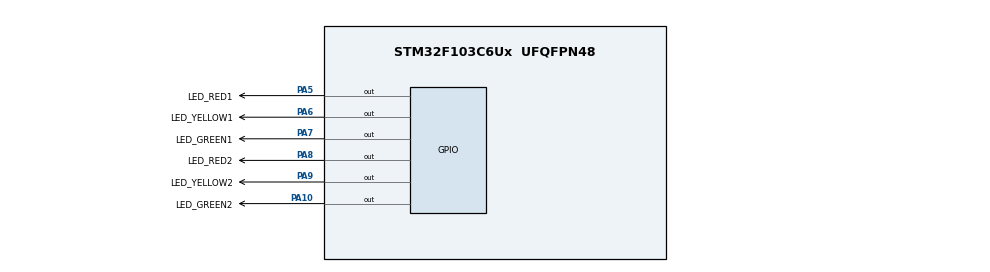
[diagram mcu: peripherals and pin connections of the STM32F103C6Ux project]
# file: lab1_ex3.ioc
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Mcu.Family=STM32F1
Mcu.Name=STM32F103C6Ux
Mcu.Package=UFQFPN48
NVIC.PriorityGroup=NVIC_PRIORITYGROUP_4
PA10.GPIO_Label=LED_GREEN2
PA10.Signal=GPIO_Output
PA5.GPIO_Label=LED_RED1
PA5.Signal=GPIO_Output
PA6.GPIO_Label=LED_YELLOW1
PA6.Signal=GPIO_Output
PA7.GPIO_Label=LED_GREEN1
PA7.Signal=GPIO_Output
PA8.GPIO_Label=LED_RED2
PA8.Signal=GPIO_Output
PA9.GPIO_Label=LED_YELLOW2
PA9.Signal=GPIO_Output
ProjectManager.HeapSize=0x200
ProjectManager.StackSize=0x400
ProjectManager.TargetToolchain=STM32CubeIDE
RCC.APB1Freq_Value=8000000
RCC.APB2Freq_Value=8000000
VP_SYS_VS_ND.Mode=No_Debug
board=custom

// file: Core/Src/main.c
/* USER CODE BEGIN Header */
/**
  ******************************************************************************
  * @file           : main.c
  * @brief          : Main program body
  ******************************************************************************
  * @attention
  *
  * <h2><center>&copy; Copyright (c) 2025 STMicroelectronics.
  * All rights reserved.</center></h2>
  *
  * This software component is licensed by ST under BSD 3-Clause license,
  * the "License"; You may not use this file except in compliance with the
  * License. You may obtain a copy of the License at:
  *                        opensource.org/licenses/BSD-3-Clause
  *
  ******************************************************************************
  */
/* USER CODE END Header */
#include "main.h"

void SystemClock_Config(void);
static void MX_GPIO_Init(void);

int main(void)
{

  /* MCU Configuration--------------------------------------------------------*/

  /* Reset of all peripherals, Initializes the Flash interface and the Systick. */
  HAL_Init();

  /* Configure the system clock */
  SystemClock_Config();

  /* Initialize all configured peripherals */
  MX_GPIO_Init();

  /* Infinite loop */
  /* USER CODE BEGIN WHILE */
  int count=0;
  int red_on=0;
  //int green_on=1;
  int yellow_on=1;
  while (1)
  {
	  //set time for next stage
	  if(count<=0)
	  {
		  if(red_on)
		  {
			  count=3;
			  red_on=0;
			  //green_on=1;
		  }
	  	  else if(yellow_on)
	  	  {
			  count=5;
			  yellow_on=0;
			  red_on=1;
	  	  }
	  	  else
	  	  {
			  count=2;
			  //green_on=0;
			  yellow_on=1;
	  	  }
	  }

	  // RED1 on, YELLOW1 off, GREEN1 off
	  // RED2 off, YELLOW2 off (on if count<=2), GREEN2 on (off if count<=2)
	  if(red_on)
	  {
		  if(count<=2)
		  {
			  HAL_GPIO_WritePin(LED_YELLOW2_GPIO_Port, LED_YELLOW2_Pin, GPIO_PIN_RESET);
			  HAL_GPIO_WritePin(LED_GREEN2_GPIO_Port, LED_GREEN2_Pin, GPIO_PIN_SET);
		  }
		  else
		  {
			  HAL_GPIO_WritePin(LED_YELLOW2_GPIO_Port, LED_YELLOW2_Pin, GPIO_PIN_SET);
			  HAL_GPIO_WritePin(LED_GREEN2_GPIO_Port, LED_GREEN2_Pin, GPIO_PIN_RESET);
		  }
		  HAL_GPIO_WritePin(LED_RED2_GPIO_Port, LED_RED2_Pin, GPIO_PIN_SET);
		  HAL_GPIO_WritePin(LED_RED1_GPIO_Port, LED_RED1_Pin, GPIO_PIN_RESET);
		  HAL_GPIO_WritePin(LED_YELLOW1_GPIO_Port, LED_YELLOW1_Pin, GPIO_PIN_SET);
		  HAL_GPIO_WritePin(LED_GREEN1_GPIO_Port, LED_GREEN1_Pin, GPIO_PIN_SET);

		  count--;
	  }

	  // RED1 off, YELLOW1 on, GREEN1 off
	  // RED2 on, YELLOW2 off, GREEN2 off
  	  else if(yellow_on)
	  {
  		  HAL_GPIO_WritePin(LED_RED1_GPIO_Port, LED_RED1_Pin, GPIO_PIN_SET);
	 	  HAL_GPIO_WritePin(LED_YELLOW1_GPIO_Port, LED_YELLOW1_Pin, GPIO_PIN_RESET);
	  	  HAL_GPIO_WritePin(LED_GREEN1_GPIO_Port, LED_GREEN1_Pin, GPIO_PIN_SET);
	  	  HAL_GPIO_WritePin(LED_RED2_GPIO_Port, LED_RED2_Pin, GPIO_PIN_RESET);
	  	  HAL_GPIO_WritePin(LED_YELLOW2_GPIO_Port, LED_YELLOW2_Pin, GPIO_PIN_SET);
	  	  HAL_GPIO_WritePin(LED_GREEN2_GPIO_Port, LED_GREEN2_Pin, GPIO_PIN_SET);
		  count--;
	  }

	  // RED1 off, YELLOW1 off, GREEN1 on
	  // RED2 on, YELLOW2 off, GREEN2 off
	  else
	  {
		  HAL_GPIO_WritePin(LED_RED1_GPIO_Port, LED_RED1_Pin, GPIO_PIN_SET);
		  HAL_GPIO_WritePin(LED_YELLOW1_GPIO_Port, LED_YELLOW1_Pin, GPIO_PIN_SET);
		  HAL_GPIO_WritePin(LED_GREEN1_GPIO_Port, LED_GREEN1_Pin, GPIO_PIN_RESET);
		  HAL_GPIO_WritePin(LED_RED2_GPIO_Port, LED_RED2_Pin, GPIO_PIN_RESET);
		  HAL_GPIO_WritePin(LED_YELLOW2_GPIO_Port, LED_YELLOW2_Pin, GPIO_PIN_SET);
		  HAL_GPIO_WritePin(LED_GREEN2_GPIO_Port, LED_GREEN2_Pin, GPIO_PIN_SET);
		  count--;
	  }

	  HAL_Delay(1000);

    /* USER CODE END WHILE */

  }
}

void SystemClock_Config(void)
{
  RCC_OscInitTypeDef RCC_OscInitStruct = {0};
  RCC_ClkInitTypeDef RCC_ClkInitStruct = {0};

  /** Initializes the RCC Oscillators according to the specified parameters
  * in the RCC_OscInitTypeDef structure.
  */
  RCC_OscInitStruct.OscillatorType = RCC_OSCILLATORTYPE_HSI;
  RCC_OscInitStruct.HSIState = RCC_HSI_ON;
  RCC_OscInitStruct.HSICalibrationValue = RCC_HSICALIBRATION_DEFAULT;
  RCC_OscInitStruct.PLL.PLLState = RCC_PLL_NONE;
  if (HAL_RCC_OscConfig(&RCC_OscInitStruct) != HAL_OK)
  {
    Error_Handler();
  }
  /** Initializes the CPU, AHB and APB buses clocks
  */
  RCC_ClkInitStruct.ClockType = RCC_CLOCKTYPE_HCLK|RCC_CLOCKTYPE_SYSCLK
                              |RCC_CLOCKTYPE_PCLK1|RCC_CLOCKTYPE_PCLK2;
  RCC_ClkInitStruct.SYSCLKSource = RCC_SYSCLKSOURCE_HSI;
  RCC_ClkInitStruct.AHBCLKDivider = RCC_SYSCLK_DIV1;
  RCC_ClkInitStruct.APB1CLKDivider = RCC_HCLK_DIV1;
  RCC_ClkInitStruct.APB2CLKDivider = RCC_HCLK_DIV1;

  if (HAL_RCC_ClockConfig(&RCC_ClkInitStruct, FLASH_LATENCY_0) != HAL_OK)
  {
    Error_Handler();
  }
}

static void MX_GPIO_Init(void)
{
  GPIO_InitTypeDef GPIO_InitStruct = {0};

  /* GPIO Ports Clock Enable */
  __HAL_RCC_GPIOA_CLK_ENABLE();

  /*Configure GPIO pin Output Level */
  HAL_GPIO_WritePin(GPIOA, LED_RED1_Pin|LED_YELLOW1_Pin|LED_GREEN1_Pin|LED_RED2_Pin
                          |LED_YELLOW2_Pin|LED_GREEN2_Pin, GPIO_PIN_RESET);

  /*Configure GPIO pins : LED_RED1_Pin LED_YELLOW1_Pin LED_GREEN1_Pin LED_RED2_Pin
                           LED_YELLOW2_Pin LED_GREEN2_Pin */
  GPIO_InitStruct.Pin = LED_RED1_Pin|LED_YELLOW1_Pin|LED_GREEN1_Pin|LED_RED2_Pin
                          |LED_YELLOW2_Pin|LED_GREEN2_Pin;
  GPIO_InitStruct.Mode = GPIO_MODE_OUTPUT_PP;
  GPIO_InitStruct.Pull = GPIO_NOPULL;
  GPIO_InitStruct.Speed = GPIO_SPEED_FREQ_LOW;
  HAL_GPIO_Init(GPIOA, &GPIO_InitStruct);

}

void Error_Handler(void)
{
  __disable_irq();
  while (1)
  {
  }
}

/************************ (C) COPYRIGHT STMicroelectronics *****END OF FILE****/
